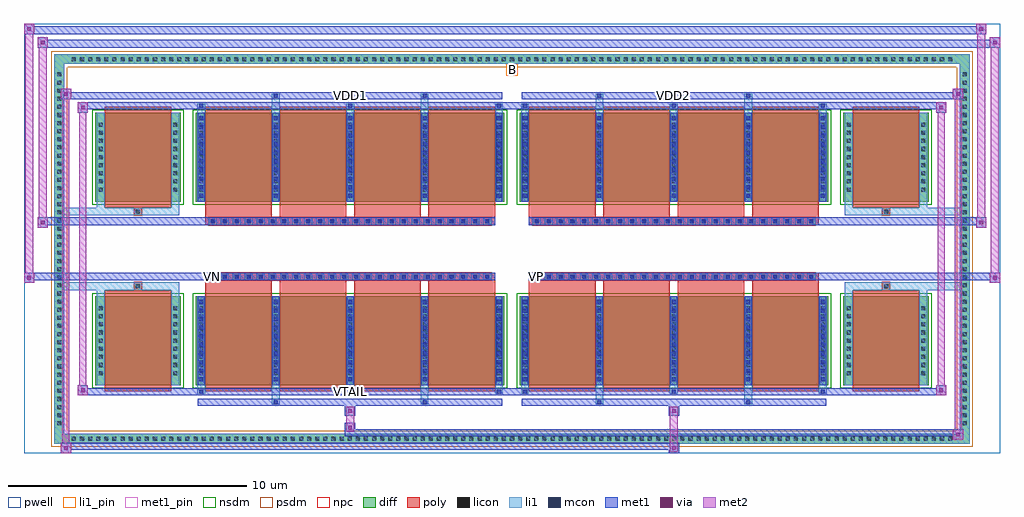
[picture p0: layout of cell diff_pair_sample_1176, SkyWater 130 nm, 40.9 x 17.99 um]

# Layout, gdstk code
import gdstk
lib = gdstk.Library(unit=1e-6, precision=5e-09)
def R(c, l, rs):  # rectangles x0, y0, x1, y1
    for r in rs: c.add(gdstk.rectangle(r[:2], r[2:], *l))
def A(c, l, x, y, w, h, nx, ny, dx, dy):  # array of equal rectangles
    R(c, l, [(x+i*dx, y+j*dy, x+i*dx+w, y+j*dy+h) for i in range(nx) for j in range(ny)])
def P(c, l, *ps):  # polygons
    for p in ps: c.add(gdstk.Polygon(p, *l))
pwell = (64, 44)
diff = (65, 20)
poly = (66, 20)
licon = (66, 44)
li1_pin = (67, 16)
li1 = (67, 20)
mcon = (67, 44)
met1_pin = (68, 16)
met1 = (68, 20)
via = (68, 44)
met2 = (69, 20)
nsdm = (93, 44)
psdm = (94, 20)
npc = (95, 20)

diff_pair_sample_1176 = lib.new_cell('diff_pair_sample_1176')
R(diff_pair_sample_1176, pwell, [(-20.45,-8.56,20.45,9.43), (-17.77,-6.75,-0.01,-0.795), (0.01,-6.75,17.77,-0.795), (-17.77,0.795,-0.01,6.75), (0.01,0.795,17.77,6.75)])
A(diff_pair_sample_1176, diff, -18.565, -8.16, 0.41, 0.41, 109, 2, 0.34, 15.91)
A(diff_pair_sample_1176, diff, -19.18, -7.515, 0.41, 0.41, 1, 44, 0, 0.34)
A(diff_pair_sample_1176, diff, 18.77, -7.515, 0.41, 0.41, 1, 44, 0, 0.34)
R(diff_pair_sample_1176, diff, [(-18.565,-8.16,18.565,-7.75), (-19.18,-7.515,-18.77,7.515), (18.77,-7.515,19.18,7.515), (-17.46,-5.705,-13.89,-1.985), (-13.25,-5.705,-0.32,-1.985), (0.32,-5.705,13.25,-1.985), (13.89,-5.705,17.46,-1.985), (-17.46,1.985,-13.89,5.705), (-13.25,1.985,-0.32,5.705), (0.32,1.985,13.25,5.705), (13.89,1.985,17.46,5.705), (-18.565,7.75,18.565,8.16)])
P(diff_pair_sample_1176, diff, [(19.18,8.16),(-19.18,8.16),(-19.18,-7.75),(-18.77,-7.75),(-18.77,7.75),(18.77,7.75),(18.77,-7.75),(-18.77,-7.75),(-19.18,-7.75),(-19.18,-8.16),(19.18,-8.16)])
A(diff_pair_sample_1176, poly, -12.86, -5.96, 2.79, 4.23, 4, 2, 3.12, 7.69)
A(diff_pair_sample_1176, poly, 0.71, -5.96, 2.79, 4.23, 4, 2, 3.12, 7.69)
A(diff_pair_sample_1176, poly, -12.86, -1.73, 2.79, 0.405, 4, 2, 3.12, 3.055)
A(diff_pair_sample_1176, poly, 0.71, -1.73, 2.79, 0.405, 4, 2, 3.12, 3.055)
A(diff_pair_sample_1176, poly, -12.7, -1.325, 0.33, 0.33, 24, 2, 0.5, 2.32)
A(diff_pair_sample_1176, poly, 0.87, -1.325, 0.33, 0.33, 24, 2, 0.5, 2.32)
R(diff_pair_sample_1176, poly, [(-17.07,-5.96,-14.28,-1.73), (14.28,-5.96,17.07,-1.73), (-15.84,-1.73,-15.51,-1.4), (-15.84,-1.73,-15.51,-1.4), (15.51,-1.73,15.84,-1.4), (15.51,-1.73,15.84,-1.4), (-12.86,-1.325,-0.71,-0.995), (0.71,-1.325,12.86,-0.995), (-12.86,0.995,-0.71,1.325), (0.71,0.995,12.86,1.325), (-15.84,1.4,-15.51,1.73), (-15.84,1.4,-15.51,1.73), (15.51,1.4,15.84,1.73), (15.51,1.4,15.84,1.73), (-17.07,1.73,-14.28,5.96), (14.28,1.73,17.07,5.96)])
A(diff_pair_sample_1176, licon, -18.445, -8.04, 0.17, 0.17, 109, 2, 0.34, 15.91)
A(diff_pair_sample_1176, licon, -19.06, -7.395, 0.17, 0.17, 1, 44, 0, 0.34)
A(diff_pair_sample_1176, licon, 18.89, -7.395, 0.17, 0.17, 1, 44, 0, 0.34)
A(diff_pair_sample_1176, licon, -17.32, -5.29, 0.17, 0.17, 1, 9, 0, 0.34)
A(diff_pair_sample_1176, licon, -14.2, -5.29, 0.17, 0.17, 1, 9, 0, 0.34)
A(diff_pair_sample_1176, licon, -13.11, -5.29, 0.17, 0.17, 5, 9, 3.12, 0.34)
A(diff_pair_sample_1176, licon, 0.46, -5.29, 0.17, 0.17, 5, 9, 3.12, 0.34)
A(diff_pair_sample_1176, licon, 14.03, -5.29, 0.17, 0.17, 1, 9, 0, 0.34)
A(diff_pair_sample_1176, licon, 17.15, -5.29, 0.17, 0.17, 1, 9, 0, 0.34)
A(diff_pair_sample_1176, licon, -12.62, -1.245, 0.17, 0.17, 24, 2, 0.5, 2.32)
A(diff_pair_sample_1176, licon, 0.95, -1.245, 0.17, 0.17, 24, 2, 0.5, 2.32)
A(diff_pair_sample_1176, licon, -17.32, 2.4, 0.17, 0.17, 1, 9, 0, 0.34)
A(diff_pair_sample_1176, licon, -14.2, 2.4, 0.17, 0.17, 1, 9, 0, 0.34)
A(diff_pair_sample_1176, licon, -13.11, 2.4, 0.17, 0.17, 5, 9, 3.12, 0.34)
A(diff_pair_sample_1176, licon, 0.46, 2.4, 0.17, 0.17, 5, 9, 3.12, 0.34)
A(diff_pair_sample_1176, licon, 14.03, 2.4, 0.17, 0.17, 1, 9, 0, 0.34)
A(diff_pair_sample_1176, licon, 17.15, 2.4, 0.17, 0.17, 1, 9, 0, 0.34)
R(diff_pair_sample_1176, licon, [(-15.76,-1.65,-15.59,-1.48), (15.59,-1.65,15.76,-1.48), (-15.76,1.48,-15.59,1.65), (15.59,1.48,15.76,1.65)])
R(diff_pair_sample_1176, li1_pin, [(-0.25,7.25,0.25,7.75)])
A(diff_pair_sample_1176, li1, -18.525, -8.12, 0.33, 0.33, 109, 2, 0.34, 15.91)
A(diff_pair_sample_1176, li1, -19.14, -7.475, 0.33, 0.33, 1, 44, 0, 0.34)
A(diff_pair_sample_1176, li1, 18.81, -7.475, 0.33, 0.33, 1, 44, 0, 0.34)
A(diff_pair_sample_1176, li1, -13.19, -6.08, 0.33, 0.375, 3, 2, 6.24, 11.785)
A(diff_pair_sample_1176, li1, -13.11, -6.08, 0.17, 0.17, 3, 2, 6.24, 11.99)
A(diff_pair_sample_1176, li1, 0.38, -6.08, 0.33, 0.375, 3, 2, 6.24, 11.785)
A(diff_pair_sample_1176, li1, 0.46, -6.08, 0.17, 0.17, 3, 2, 6.24, 11.99)
A(diff_pair_sample_1176, li1, -13.19, -5.705, 0.33, 3.72, 5, 2, 3.12, 7.69)
A(diff_pair_sample_1176, li1, 0.38, -5.705, 0.33, 3.72, 5, 2, 3.12, 7.69)
A(diff_pair_sample_1176, li1, -13.11, -5.55, 0.17, 0.17, 5, 10, 3.12, 0.36)
A(diff_pair_sample_1176, li1, -13.11, -5.55, 0.17, 3.41, 5, 2, 3.12, 7.69)
A(diff_pair_sample_1176, li1, 0.46, -5.55, 0.17, 0.17, 5, 10, 3.12, 0.36)
A(diff_pair_sample_1176, li1, 0.46, -5.55, 0.17, 3.41, 5, 2, 3.12, 7.69)
A(diff_pair_sample_1176, li1, -17.4, -5.37, 0.33, 0.33, 1, 9, 0, 0.34)
A(diff_pair_sample_1176, li1, -14.28, -5.37, 0.33, 0.33, 1, 9, 0, 0.34)
A(diff_pair_sample_1176, li1, -13.19, -5.37, 0.33, 0.33, 5, 9, 3.12, 0.34)
A(diff_pair_sample_1176, li1, 0.38, -5.37, 0.33, 0.33, 5, 9, 3.12, 0.34)
A(diff_pair_sample_1176, li1, 13.95, -5.37, 0.33, 0.33, 1, 9, 0, 0.34)
A(diff_pair_sample_1176, li1, 17.07, -5.37, 0.33, 0.33, 1, 9, 0, 0.34)
A(diff_pair_sample_1176, li1, -12.7, -1.325, 0.33, 0.33, 24, 2, 0.5, 2.32)
A(diff_pair_sample_1176, li1, 0.87, -1.325, 0.33, 0.33, 24, 2, 0.5, 2.32)
A(diff_pair_sample_1176, li1, -13.11, 2.14, 0.17, 0.17, 5, 10, 3.12, 0.36)
A(diff_pair_sample_1176, li1, 0.46, 2.14, 0.17, 0.17, 5, 10, 3.12, 0.36)
A(diff_pair_sample_1176, li1, -17.4, 2.32, 0.33, 0.33, 1, 9, 0, 0.34)
A(diff_pair_sample_1176, li1, -14.28, 2.32, 0.33, 0.33, 1, 9, 0, 0.34)
A(diff_pair_sample_1176, li1, -13.19, 2.32, 0.33, 0.33, 5, 9, 3.12, 0.34)
A(diff_pair_sample_1176, li1, 0.38, 2.32, 0.33, 0.33, 5, 9, 3.12, 0.34)
A(diff_pair_sample_1176, li1, 13.95, 2.32, 0.33, 0.33, 1, 9, 0, 0.34)
A(diff_pair_sample_1176, li1, 17.07, 2.32, 0.33, 0.33, 1, 9, 0, 0.34)
R(diff_pair_sample_1176, li1, [(-19.18,-8.16,-18.77,-7.75), (-19.18,-8.16,-18.77,-7.75), (-18.77,-8.16,18.77,-7.75), (18.77,-8.16,19.18,-7.75), (18.77,-8.16,19.18,-7.75), (-19.18,-7.75,-18.77,7.75), (18.77,-7.75,19.18,7.75), (-10.07,-6.51,-9.74,-5.705), (-9.99,-6.51,-9.82,-6.34), (-3.83,-6.51,-3.5,-5.705), (-3.75,-6.51,-3.58,-6.34), (3.5,-6.51,3.83,-5.705), (3.58,-6.51,3.75,-6.34), (9.74,-6.51,10.07,-5.705), (9.82,-6.51,9.99,-6.34), (-17.4,-5.705,-17.07,-1.985), (-14.28,-5.705,-13.95,-1.985), (13.95,-5.705,14.28,-1.985), (17.07,-5.705,17.4,-1.985), (-17.4,-1.985,-17.07,-1.4), (-14.28,-1.985,-13.95,-1.4), (13.95,-1.985,14.28,-1.4), (17.07,-1.985,17.4,-1.4), (-19.18,-1.73,-15.84,-1.4), (-17.4,-1.73,-15.84,-1.4), (-15.84,-1.73,-15.51,-1.4), (-15.51,-1.73,-13.95,-1.4), (13.95,-1.73,15.51,-1.4), (15.51,-1.73,15.84,-1.4), (15.51,-1.73,19.18,-1.4), (15.84,-1.73,17.4,-1.4), (-19.18,1.4,-15.84,1.73), (-17.4,1.4,-15.84,1.73), (-17.4,1.4,-17.07,1.985), (-15.84,1.4,-15.51,1.73), (-15.51,1.4,-13.95,1.73), (-14.28,1.4,-13.95,1.985), (13.95,1.4,15.51,1.73), (13.95,1.4,14.28,1.985), (15.51,1.4,15.84,1.73), (15.51,1.4,19.18,1.73), (15.84,1.4,17.4,1.73), (17.07,1.4,17.4,1.985), (-17.4,1.985,-17.07,5.705), (-14.28,1.985,-13.95,5.705), (13.95,1.985,14.28,5.705), (17.07,1.985,17.4,5.705), (-10.07,5.705,-9.74,6.51), (-3.83,5.705,-3.5,6.51), (3.5,5.705,3.83,6.51), (9.74,5.705,10.07,6.51), (-9.99,6.34,-9.82,6.51), (-3.75,6.34,-3.58,6.51), (3.58,6.34,3.75,6.51), (9.82,6.34,9.99,6.51), (-19.18,7.75,-18.77,8.16), (-19.18,7.75,-18.77,8.16), (-18.77,7.75,18.77,8.16), (18.77,7.75,19.18,8.16), (18.77,7.75,19.18,8.16)])
A(diff_pair_sample_1176, mcon, -13.11, -6.08, 0.17, 0.17, 3, 2, 6.24, 11.99)
A(diff_pair_sample_1176, mcon, 0.46, -6.08, 0.17, 0.17, 3, 2, 6.24, 11.99)
A(diff_pair_sample_1176, mcon, -13.11, -5.55, 0.17, 0.17, 5, 10, 3.12, 0.36)
A(diff_pair_sample_1176, mcon, 0.46, -5.55, 0.17, 0.17, 5, 10, 3.12, 0.36)
A(diff_pair_sample_1176, mcon, -12.62, -1.245, 0.17, 0.17, 24, 2, 0.5, 2.32)
A(diff_pair_sample_1176, mcon, 0.95, -1.245, 0.17, 0.17, 24, 2, 0.5, 2.32)
A(diff_pair_sample_1176, mcon, -13.11, 2.14, 0.17, 0.17, 5, 10, 3.12, 0.36)
A(diff_pair_sample_1176, mcon, 0.46, 2.14, 0.17, 0.17, 5, 10, 3.12, 0.36)
R(diff_pair_sample_1176, mcon, [(-9.99,-6.51,-9.82,-6.34), (-3.75,-6.51,-3.58,-6.34), (3.58,-6.51,3.75,-6.34), (9.82,-6.51,9.99,-6.34), (-9.99,6.34,-9.82,6.51), (-3.75,6.34,-3.58,6.51), (3.58,6.34,3.75,6.51), (9.82,6.34,9.99,6.51)])
R(diff_pair_sample_1176, met1_pin, [(-6.92,-6.12,-6.65,-5.85), (-12.67,-1.285,-12.4,-1.015), (0.9,-1.285,1.17,-1.015), (-6.92,6.3,-6.65,6.57), (6.65,6.3,6.92,6.57)])
A(diff_pair_sample_1176, met1, -13.17, -6.14, 0.29, 0.29, 3, 2, 6.24, 11.99)
A(diff_pair_sample_1176, met1, 0.4, -6.14, 0.29, 0.29, 3, 2, 6.24, 11.99)
A(diff_pair_sample_1176, met1, -13.17, -5.705, 0.29, 3.72, 5, 2, 3.12, 7.69)
A(diff_pair_sample_1176, met1, 0.4, -5.705, 0.29, 3.72, 5, 2, 3.12, 7.69)
A(diff_pair_sample_1176, met1, -13.17, -5.61, 0.29, 0.29, 5, 10, 3.12, 0.36)
A(diff_pair_sample_1176, met1, 0.4, -5.61, 0.29, 0.29, 5, 10, 3.12, 0.36)
A(diff_pair_sample_1176, met1, -12.68, -1.305, 0.29, 0.29, 24, 2, 0.5, 2.32)
A(diff_pair_sample_1176, met1, 0.89, -1.305, 0.29, 0.29, 24, 2, 0.5, 2.32)
A(diff_pair_sample_1176, met1, -13.17, 2.08, 0.29, 0.29, 5, 10, 3.12, 0.36)
A(diff_pair_sample_1176, met1, 0.4, 2.08, 0.29, 0.29, 5, 10, 3.12, 0.36)
R(diff_pair_sample_1176, met1, [(-18.91,-8.56,-18.48,-8.13), (6.57,-8.56,7,-8.13), (-18.91,-8.42,7,-8.13), (18.48,-7.99,18.91,-7.56), (-7,-7.85,18.91,-7.56), (-7,-7.71,-6.57,-7.28), (-7,-7,-6.57,-6.57), (6.57,-7,7,-6.57), (-13.17,-6.57,-0.4,-6.28), (-10.05,-6.57,-9.76,-6.28), (-3.81,-6.57,-3.52,-6.28), (0.4,-6.57,13.17,-6.28), (3.52,-6.57,3.81,-6.28), (9.76,-6.57,10.05,-6.28), (-18.2,-6.14,-17.77,-5.71), (-18.2,-6.14,-13.17,-5.85), (-13.17,-6.14,-0.4,-5.85), (-0.4,-6.14,0.4,-5.85), (0.4,-6.14,13.17,-5.85), (13.17,-6.14,18.2,-5.85), (17.77,-6.14,18.2,-5.71), (-20.45,-1.425,-20.02,-0.995), (20.02,-1.425,20.45,-0.995), (-20.45,-1.325,-0.71,-0.995), (-12.86,-1.325,-0.71,-0.995), (0.71,-1.325,12.86,-0.995), (0.71,-1.325,20.45,-0.995), (-19.88,0.895,-19.45,1.325), (19.45,0.895,19.88,1.325), (-19.88,0.995,-12.86,1.325), (-12.86,0.995,-0.71,1.325), (0.71,0.995,12.86,1.325), (12.86,0.995,19.88,1.325), (-18.2,5.71,-17.77,6.14), (17.77,5.71,18.2,6.14), (-18.2,5.85,-13.17,6.14), (-13.17,5.85,-0.4,6.14), (-0.4,5.85,0.4,6.14), (0.4,5.85,13.17,6.14), (13.17,5.85,18.2,6.14), (-18.91,6.28,-18.48,6.71), (-18.91,6.28,-13.17,6.57), (-13.17,6.28,-0.4,6.57), (-10.05,6.28,-9.76,6.57), (-3.81,6.28,-3.52,6.57), (0.4,6.28,13.17,6.57), (3.52,6.28,3.81,6.57), (9.76,6.28,10.05,6.57), (13.17,6.28,18.91,6.57), (18.48,6.28,18.91,6.71), (-19.88,8.43,-19.45,8.86), (-19.88,8.43,-17.77,8.76), (-17.77,8.43,17.77,8.76), (17.77,8.43,20.45,8.76), (20.02,8.43,20.45,8.86), (-20.45,9,-20.02,9.43), (-20.45,9,-17.77,9.33), (-17.77,9,17.77,9.33), (17.77,9,19.88,9.33), (19.45,9,19.88,9.43)])
R(diff_pair_sample_1176, via, [(-18.77,-8.42,-18.62,-8.27), (6.71,-8.42,6.86,-8.27), (18.62,-7.85,18.77,-7.7), (-6.86,-7.57,-6.71,-7.42), (-6.86,-6.86,-6.71,-6.71), (6.71,-6.86,6.86,-6.71), (-18.06,-6,-17.91,-5.85), (17.91,-6,18.06,-5.85), (-20.31,-1.285,-20.16,-1.135), (20.16,-1.285,20.31,-1.135), (-19.74,1.035,-19.59,1.185), (19.59,1.035,19.74,1.185), (-18.06,5.85,-17.91,6), (17.91,5.85,18.06,6), (-18.77,6.42,-18.62,6.57), (18.62,6.42,18.77,6.57), (-19.74,8.57,-19.59,8.72), (20.16,8.57,20.31,8.72), (-20.31,9.14,-20.16,9.29), (19.59,9.14,19.74,9.29)])
R(diff_pair_sample_1176, met2, [(-18.91,-8.56,-18.48,-8.13), (-18.84,-8.56,-18.55,6.71), (-18.55,-8.56,-18.48,-8.13), (-18.86,-8.51,-18.53,-8.18), (6.62,-8.51,6.95,-8.18), (6.62,-8.18,6.95,-6.95), (18.48,-7.99,18.91,-7.56), (18.55,-7.99,18.84,6.71), (18.84,-7.99,18.91,-7.56), (18.53,-7.94,18.86,-7.61), (-6.95,-7.66,-6.62,-7.33), (-6.95,-7.33,-6.62,-6.95), (-6.95,-6.95,-6.62,-6.62), (6.62,-6.95,6.95,-6.62), (-18.2,-6.14,-17.77,-5.71), (-18.13,-6.14,-17.84,6.14), (-17.84,-6.14,-17.77,-5.71), (17.77,-6.14,18.2,-5.71), (17.84,-6.14,18.13,6.14), (18.13,-6.14,18.2,-5.71), (-18.15,-6.09,-17.82,-5.76), (17.82,-6.09,18.15,-5.76), (-20.45,-1.425,-20.02,-0.995), (-20.4,-1.425,-20.07,9.43), (-20.07,-1.425,-20.02,-0.995), (20.02,-1.425,20.45,-0.995), (20.07,-1.425,20.4,8.86), (20.4,-1.425,20.45,-0.995), (-20.4,-1.375,-20.07,-1.045), (20.07,-1.375,20.4,-1.045), (-19.88,0.895,-19.45,1.325), (-19.83,0.895,-19.5,8.86), (-19.5,0.895,-19.45,1.325), (19.45,0.895,19.88,1.325), (19.5,0.895,19.83,9.43), (19.83,0.895,19.88,1.325), (-19.83,0.945,-19.5,1.275), (19.5,0.945,19.83,1.275), (-18.2,5.71,-17.77,6.14), (-17.84,5.71,-17.77,6.14), (17.77,5.71,18.2,6.14), (18.13,5.71,18.2,6.14), (-18.15,5.76,-17.82,6.09), (17.82,5.76,18.15,6.09), (-18.91,6.28,-18.48,6.71), (-18.55,6.28,-18.48,6.71), (18.48,6.28,18.91,6.71), (18.84,6.28,18.91,6.71), (-18.86,6.33,-18.53,6.66), (18.53,6.33,18.86,6.66), (-19.88,8.43,-19.45,8.86), (-19.5,8.43,-19.45,8.86), (20.02,8.43,20.45,8.86), (20.4,8.43,20.45,8.86), (-19.83,8.48,-19.5,8.81), (20.07,8.48,20.4,8.81), (-20.45,9,-20.02,9.43), (-20.07,9,-20.02,9.43), (19.45,9,19.88,9.43), (19.83,9,19.88,9.43), (-20.4,9.05,-20.07,9.38), (19.5,9.05,19.83,9.38)])
R(diff_pair_sample_1176, nsdm, [(-17.59,-5.835,-13.76,-1.855), (-13.38,-5.835,-0.19,-1.855), (0.19,-5.835,13.38,-1.855), (13.76,-5.835,17.59,-1.855), (-17.59,1.855,-13.76,5.835), (-13.38,1.855,-0.19,5.835), (0.19,1.855,13.38,5.835), (13.76,1.855,17.59,5.835)])
P(diff_pair_sample_1176, psdm, [(19.31,8.29),(-19.31,8.29),(-19.31,-7.62),(-18.64,-7.62),(-18.64,7.62),(18.64,7.62),(18.64,-7.62),(-18.64,-7.62),(-19.31,-7.62),(-19.31,-8.29),(19.31,-8.29)])
A(diff_pair_sample_1176, npc, -12.72, -1.345, 0.37, 0.37, 24, 2, 0.5, 2.32)
A(diff_pair_sample_1176, npc, 0.85, -1.345, 0.37, 0.37, 24, 2, 0.5, 2.32)
R(diff_pair_sample_1176, npc, [(-15.86,-1.75,-15.49,-1.38), (15.49,-1.75,15.86,-1.38), (-12.72,-1.345,-11.85,-0.975), (-12.72,-1.345,-11.85,-0.975), (-12.22,-1.345,-11.35,-0.975), (-12.22,-1.345,-11.35,-0.975), (-11.72,-1.345,-10.85,-0.975), (-11.72,-1.345,-10.85,-0.975), (-11.22,-1.345,-10.35,-0.975), (-11.22,-1.345,-10.35,-0.975), (-10.72,-1.345,-9.85,-0.975), (-10.72,-1.345,-9.85,-0.975), (-10.22,-1.345,-9.35,-0.975), (-10.22,-1.345,-9.35,-0.975), (-9.72,-1.345,-8.85,-0.975), (-9.72,-1.345,-8.85,-0.975), (-9.22,-1.345,-8.35,-0.975), (-9.22,-1.345,-8.35,-0.975), (-8.72,-1.345,-7.85,-0.975), (-8.72,-1.345,-7.85,-0.975), (-8.22,-1.345,-7.35,-0.975), (-8.22,-1.345,-7.35,-0.975), (-7.72,-1.345,-6.85,-0.975), (-7.72,-1.345,-6.85,-0.975), (-7.22,-1.345,-6.35,-0.975), (-7.22,-1.345,-6.35,-0.975), (-6.72,-1.345,-5.85,-0.975), (-6.72,-1.345,-5.85,-0.975), (-6.22,-1.345,-5.35,-0.975), (-6.22,-1.345,-5.35,-0.975), (-5.72,-1.345,-4.85,-0.975), (-5.72,-1.345,-4.85,-0.975), (-5.22,-1.345,-4.35,-0.975), (-5.22,-1.345,-4.35,-0.975), (-4.72,-1.345,-3.85,-0.975), (-4.72,-1.345,-3.85,-0.975), (-4.22,-1.345,-3.35,-0.975), (-4.22,-1.345,-3.35,-0.975), (-3.72,-1.345,-2.85,-0.975), (-3.72,-1.345,-2.85,-0.975), (-3.22,-1.345,-2.35,-0.975), (-3.22,-1.345,-2.35,-0.975), (-2.72,-1.345,-1.85,-0.975), (-2.72,-1.345,-1.85,-0.975), (-2.22,-1.345,-1.35,-0.975), (-2.22,-1.345,-1.35,-0.975), (-1.72,-1.345,-0.85,-0.975), (-1.72,-1.345,-0.85,-0.975), (0.85,-1.345,1.72,-0.975), (0.85,-1.345,1.72,-0.975), (1.35,-1.345,2.22,-0.975), (1.35,-1.345,2.22,-0.975), (1.85,-1.345,2.72,-0.975), (1.85,-1.345,2.72,-0.975), (2.35,-1.345,3.22,-0.975), (2.35,-1.345,3.22,-0.975), (2.85,-1.345,3.72,-0.975), (2.85,-1.345,3.72,-0.975), (3.35,-1.345,4.22,-0.975), (3.35,-1.345,4.22,-0.975), (3.85,-1.345,4.72,-0.975), (3.85,-1.345,4.72,-0.975), (4.35,-1.345,5.22,-0.975), (4.35,-1.345,5.22,-0.975), (4.85,-1.345,5.72,-0.975), (4.85,-1.345,5.72,-0.975), (5.35,-1.345,6.22,-0.975), (5.35,-1.345,6.22,-0.975), (5.85,-1.345,6.72,-0.975), (5.85,-1.345,6.72,-0.975), (6.35,-1.345,7.22,-0.975), (6.35,-1.345,7.22,-0.975), (6.85,-1.345,7.72,-0.975), (6.85,-1.345,7.72,-0.975), (7.35,-1.345,8.22,-0.975), (7.35,-1.345,8.22,-0.975), (7.85,-1.345,8.72,-0.975), (7.85,-1.345,8.72,-0.975), (8.35,-1.345,9.22,-0.975), (8.35,-1.345,9.22,-0.975), (8.85,-1.345,9.72,-0.975), (8.85,-1.345,9.72,-0.975), (9.35,-1.345,10.22,-0.975), (9.35,-1.345,10.22,-0.975), (9.85,-1.345,10.72,-0.975), (9.85,-1.345,10.72,-0.975), (10.35,-1.345,11.22,-0.975), (10.35,-1.345,11.22,-0.975), (10.85,-1.345,11.72,-0.975), (10.85,-1.345,11.72,-0.975), (11.35,-1.345,12.22,-0.975), (11.35,-1.345,12.22,-0.975), (11.85,-1.345,12.72,-0.975), (11.85,-1.345,12.72,-0.975), (-12.72,0.975,-11.85,1.345), (-12.72,0.975,-11.85,1.345), (-12.22,0.975,-11.35,1.345), (-12.22,0.975,-11.35,1.345), (-11.72,0.975,-10.85,1.345), (-11.72,0.975,-10.85,1.345), (-11.22,0.975,-10.35,1.345), (-11.22,0.975,-10.35,1.345), (-10.72,0.975,-9.85,1.345), (-10.72,0.975,-9.85,1.345), (-10.22,0.975,-9.35,1.345), (-10.22,0.975,-9.35,1.345), (-9.72,0.975,-8.85,1.345), (-9.72,0.975,-8.85,1.345), (-9.22,0.975,-8.35,1.345), (-9.22,0.975,-8.35,1.345), (-8.72,0.975,-7.85,1.345), (-8.72,0.975,-7.85,1.345), (-8.22,0.975,-7.35,1.345), (-8.22,0.975,-7.35,1.345), (-7.72,0.975,-6.85,1.345), (-7.72,0.975,-6.85,1.345), (-7.22,0.975,-6.35,1.345), (-7.22,0.975,-6.35,1.345), (-6.72,0.975,-5.85,1.345), (-6.72,0.975,-5.85,1.345), (-6.22,0.975,-5.35,1.345), (-6.22,0.975,-5.35,1.345), (-5.72,0.975,-4.85,1.345), (-5.72,0.975,-4.85,1.345), (-5.22,0.975,-4.35,1.345), (-5.22,0.975,-4.35,1.345), (-4.72,0.975,-3.85,1.345), (-4.72,0.975,-3.85,1.345), (-4.22,0.975,-3.35,1.345), (-4.22,0.975,-3.35,1.345), (-3.72,0.975,-2.85,1.345), (-3.72,0.975,-2.85,1.345), (-3.22,0.975,-2.35,1.345), (-3.22,0.975,-2.35,1.345), (-2.72,0.975,-1.85,1.345), (-2.72,0.975,-1.85,1.345), (-2.22,0.975,-1.35,1.345), (-2.22,0.975,-1.35,1.345), (-1.72,0.975,-0.85,1.345), (-1.72,0.975,-0.85,1.345), (0.85,0.975,1.72,1.345), (0.85,0.975,1.72,1.345), (1.35,0.975,2.22,1.345), (1.35,0.975,2.22,1.345), (1.85,0.975,2.72,1.345), (1.85,0.975,2.72,1.345), (2.35,0.975,3.22,1.345), (2.35,0.975,3.22,1.345), (2.85,0.975,3.72,1.345), (2.85,0.975,3.72,1.345), (3.35,0.975,4.22,1.345), (3.35,0.975,4.22,1.345), (3.85,0.975,4.72,1.345), (3.85,0.975,4.72,1.345), (4.35,0.975,5.22,1.345), (4.35,0.975,5.22,1.345), (4.85,0.975,5.72,1.345), (4.85,0.975,5.72,1.345), (5.35,0.975,6.22,1.345), (5.35,0.975,6.22,1.345), (5.85,0.975,6.72,1.345), (5.85,0.975,6.72,1.345), (6.35,0.975,7.22,1.345), (6.35,0.975,7.22,1.345), (6.85,0.975,7.72,1.345), (6.85,0.975,7.72,1.345), (7.35,0.975,8.22,1.345), (7.35,0.975,8.22,1.345), (7.85,0.975,8.72,1.345), (7.85,0.975,8.72,1.345), (8.35,0.975,9.22,1.345), (8.35,0.975,9.22,1.345), (8.85,0.975,9.72,1.345), (8.85,0.975,9.72,1.345), (9.35,0.975,10.22,1.345), (9.35,0.975,10.22,1.345), (9.85,0.975,10.72,1.345), (9.85,0.975,10.72,1.345), (10.35,0.975,11.22,1.345), (10.35,0.975,11.22,1.345), (10.85,0.975,11.72,1.345), (10.85,0.975,11.72,1.345), (11.35,0.975,12.22,1.345), (11.35,0.975,12.22,1.345), (11.85,0.975,12.72,1.345), (11.85,0.975,12.72,1.345), (-15.86,1.38,-15.49,1.75), (15.49,1.38,15.86,1.75)])
diff_pair_sample_1176.add(gdstk.Label('VTAIL', (-6.785,-5.985), layer=68, texttype=5))
diff_pair_sample_1176.add(gdstk.Label('VN', (-12.535,-1.15), layer=68, texttype=5))
diff_pair_sample_1176.add(gdstk.Label('VP', (1.035,-1.15), layer=68, texttype=5))
diff_pair_sample_1176.add(gdstk.Label('B', (0,7.5), layer=67, texttype=5))
diff_pair_sample_1176.add(gdstk.Label('VDD2', (6.785,6.435), layer=68, texttype=5))
diff_pair_sample_1176.add(gdstk.Label('VDD1', (-6.785,6.435), layer=68, texttype=5))

lib.write_gds('diff_pair_sample_1176.gds')
